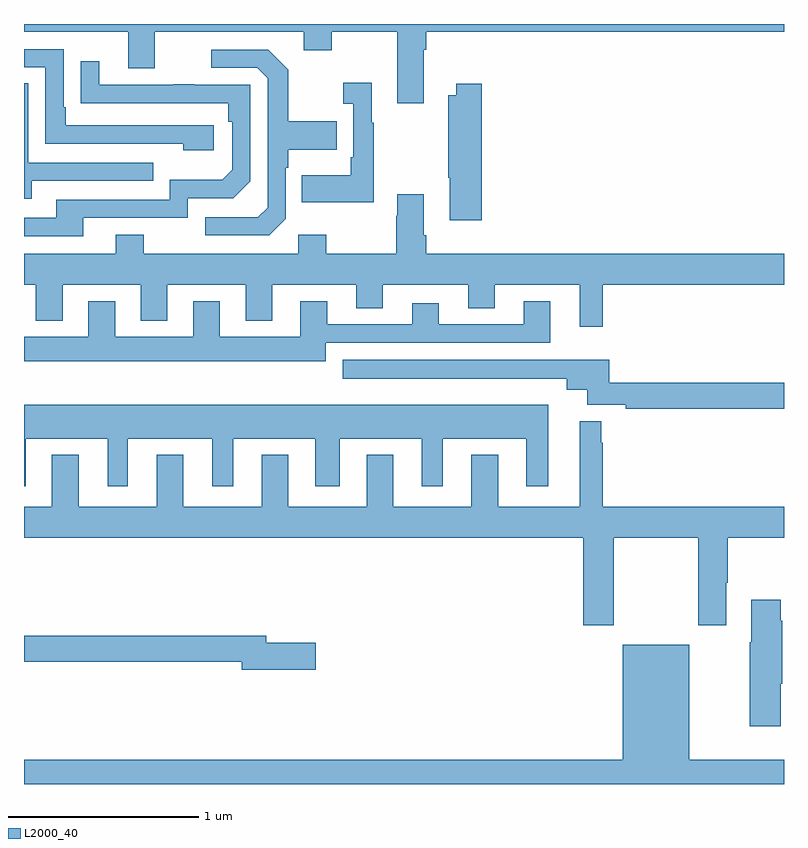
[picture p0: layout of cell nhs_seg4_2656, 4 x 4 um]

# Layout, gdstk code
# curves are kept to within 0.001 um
import gdstk
lib = gdstk.Library(unit=1e-6, precision=1e-09)
def P(c, l, *ps):  # polygons
    for p in ps: c.add(gdstk.Polygon(p, *l))
L2000_40 = (2000, 40)

nhs_seg4_2656 = lib.new_cell('nhs_seg4_2656')
P(nhs_seg4_2656, L2000_40, [(253.105,756.764),(253.118,756.764),(253.118,756.86),(255,756.86),(255,756.9),(251,756.9),(251,756.86),(251.549,756.86),(251.549,756.666),(251.689,756.666),(251.689,756.86),(252.473,756.86),(252.473,756.761),(252.621,756.761),(252.621,756.86),(252.965,756.86),(252.965,756.483),(253.105,756.483)],
  [(251.998,756.366),(251.221,756.366),(251.221,756.463),(251.208,756.463),(251.208,756.768),(251,756.768),(251,756.672),(251.112,756.672),(251.112,756.27),(251.837,756.27),(251.837,756.236),(251.998,756.236)],
  [(252.378,755.874),(252.378,756.143),(252.391,756.143),(252.391,756.239),(252.647,756.239),(252.647,756.387),(252.391,756.387),(252.391,756.659),(252.285,756.765),(251.985,756.765),(251.985,756.669),(252.228,756.669),(252.282,756.615),(252.282,755.934),(252.231,755.883),(251.955,755.883),(251.955,755.787),(252.291,755.787)],
  [(251.311,755.88),(251.862,755.88),(251.862,755.982),(252.102,755.982),(252.192,756.072),(252.192,756.579),(251.897,756.579),(251.897,756.584),(251.785,756.584),(251.785,756.579),(251.395,756.579),(251.395,756.703),(251.299,756.703),(251.299,756.484),(252.076,756.483),(252.076,756.386),(252.096,756.386),(252.096,756.132),(252.043,756.079),(251.766,756.079),(251.766,755.976),(251.171,755.976),(251.171,755.88),(251,755.88),(251,755.784),(251.311,755.784)],
  [(252.841,756.379),(252.829,756.379),(252.829,756.592),(252.681,756.592),(252.681,756.479),(252.732,756.479),(252.732,756.199),(252.72,756.199),(252.72,756.103),(252.463,756.103),(252.463,755.963),(252.841,755.963)],
  [(251.041,756.075),(251.681,756.075),(251.681,756.171),(251.022,756.171),(251.022,756.587),(251,756.587),(251,755.981),(251.041,755.981)],
  [(253.409,756.586),(253.274,756.586),(253.274,756.526),(253.234,756.526),(253.234,756.091),(253.241,756.091),(253.241,755.868),(253.409,755.868)],
  [(254.047,755.528),(255,755.528),(255,755.692),(253.118,755.692),(253.118,755.788),(253.105,755.788),(253.105,756.004),(252.965,756.004),(252.965,755.891),(252.958,755.891),(252.958,755.692),(252.591,755.692),(252.591,755.791),(252.444,755.791),(252.444,755.692),(251.631,755.692),(251.631,755.791),(251.483,755.791),(251.483,755.692),(251,755.692),(251,755.528),(251.063,755.528),(251.063,755.339),(251.203,755.339),(251.203,755.528),(251.615,755.528),(251.615,755.339),(251.755,755.339),(251.755,755.528),(252.167,755.528),(252.167,755.339),(252.307,755.339),(252.307,755.528),(252.749,755.528),(252.749,755.404),(252.889,755.404),(252.889,755.528),(253.337,755.528),(253.337,755.404),(253.477,755.404),(253.477,755.528),(253.925,755.528),(253.925,755.307),(254.047,755.307)],
  [(252.589,755.223),(253.771,755.223),(253.771,755.44),(253.631,755.44),(253.631,755.319),(253.183,755.319),(253.183,755.431),(253.043,755.431),(253.043,755.319),(252.595,755.319),(252.595,755.44),(252.455,755.44),(252.455,755.254),(252.031,755.254),(252.031,755.44),(251.891,755.44),(251.891,755.254),(251.479,755.254),(251.479,755.44),(251.339,755.44),(251.339,755.254),(251,755.254),(251,755.126),(252.589,755.126)],
  [(255,755.012),(254.081,755.012),(254.081,755.134),(252.678,755.134),(252.678,755.033),(253.856,755.033),(253.856,754.976),(253.964,754.976),(253.964,754.896),(254.168,754.896),(254.168,754.876),(255,754.876)],
  [(251.008,754.718),(251.441,754.718),(251.441,754.467),(251.545,754.467),(251.545,754.718),(251.99,754.718),(251.99,754.467),(252.1,754.467),(252.1,754.718),(252.533,754.718),(252.533,754.467),(252.661,754.467),(252.661,754.718),(253.094,754.718),(253.094,754.467),(253.204,754.467),(253.204,754.718),(253.643,754.718),(253.643,754.467),(253.759,754.467),(253.759,754.897),(251,754.897),(251,754.467),(251.008,754.467)],
  [(254.103,754.196),(254.548,754.196),(254.548,753.735),(254.695,753.735),(254.695,753.958),(254.703,753.958),(254.703,754.196),(255,754.196),(255,754.36),(254.047,754.36),(254.047,754.697),(254.038,754.697),(254.038,754.81),(253.925,754.81),(253.925,754.36),(253.495,754.36),(253.495,754.633),(253.355,754.633),(253.355,754.36),(252.943,754.36),(252.943,754.633),(252.803,754.633),(252.803,754.36),(252.391,754.36),(252.391,754.633),(252.251,754.633),(252.251,754.36),(251.839,754.36),(251.839,754.633),(251.699,754.633),(251.699,754.36),(251.287,754.36),(251.287,754.633),(251.147,754.633),(251.147,754.36),(251,754.36),(251,754.196),(253.943,754.196),(253.943,753.735),(254.103,753.735)],
  [(254.983,753.427),(254.991,753.427),(254.991,753.758),(254.983,753.758),(254.983,753.871),(254.828,753.871),(254.828,753.647),(254.821,753.647),(254.821,753.204),(254.983,753.204)],
  [(252.535,753.644),(252.274,753.644),(252.274,753.68),(251,753.68),(251,753.544),(252.146,753.544),(252.146,753.502),(252.535,753.502)],
  [(255,753.028),(254.5,753.028),(254.5,753.634),(254.15,753.634),(254.15,753.028),(251,753.028),(251,752.9),(255,752.9)])

lib.write_gds('nhs_seg4_2656.gds')
